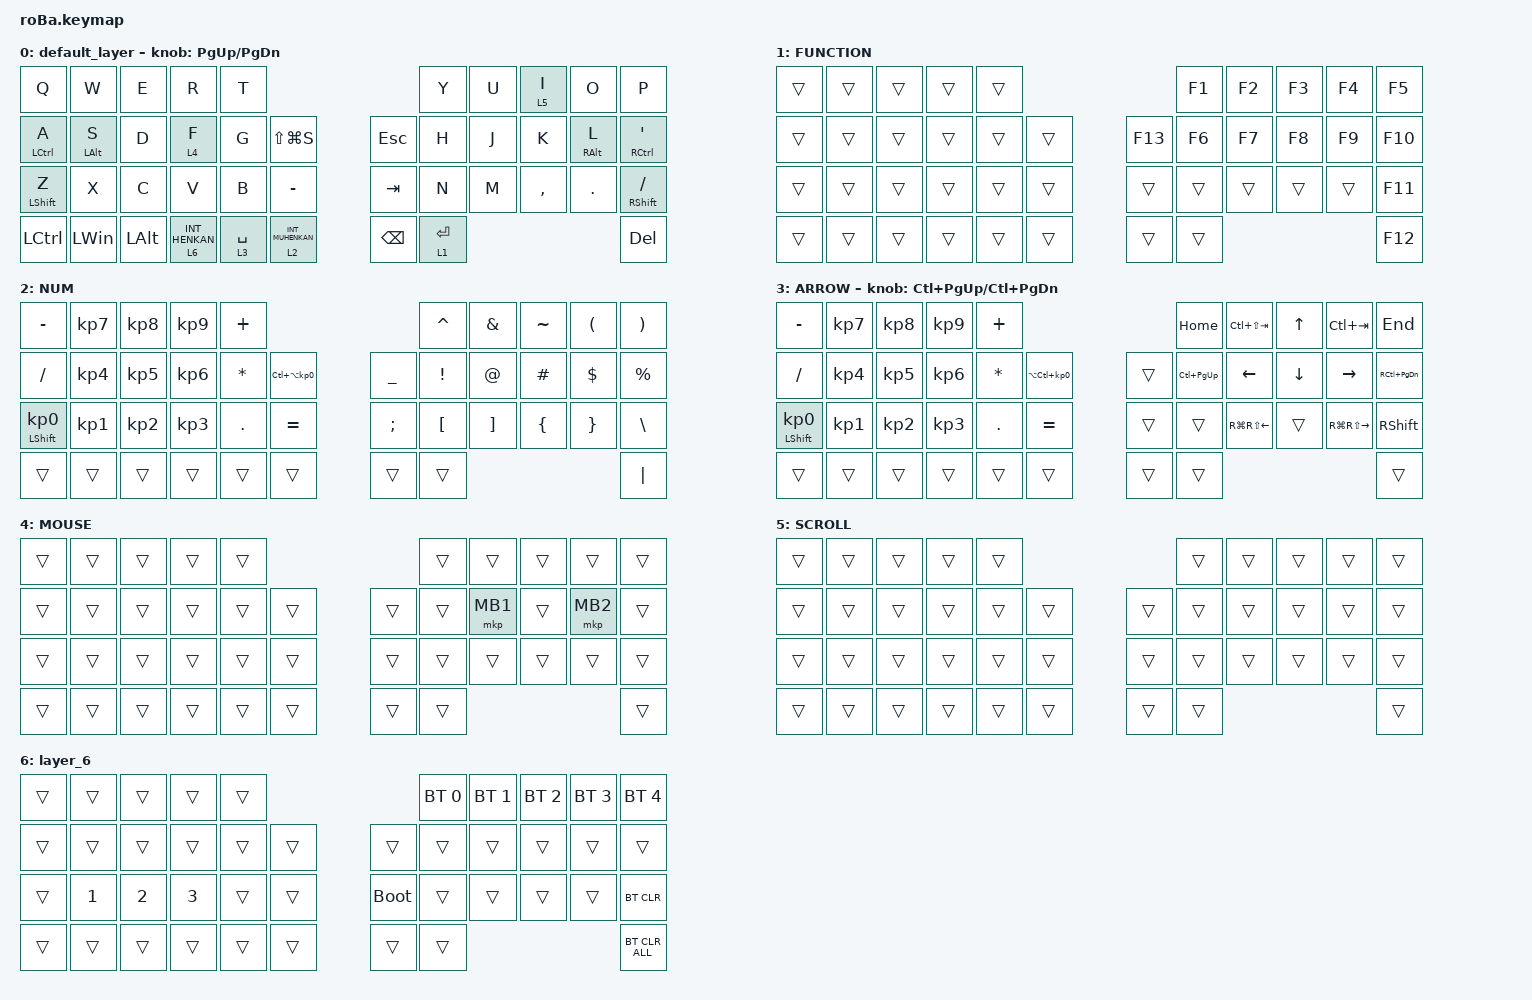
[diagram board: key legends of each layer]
#include <behaviors.dtsi>
#include <dt-bindings/zmk/bt.h>
#include <dt-bindings/zmk/keys.h>
#include <dt-bindings/zmk/pointing.h>

#define MOUSE 4
#define SCROLL 5
#define NUM 6

&mt {
    flavor = "balanced";
    quick-tap-ms = <0>;
};

/ {
    combos {
        compatible = "zmk,combos";

        tab {
            bindings = <&kp TAB>;
            key-positions = <11 12>;
        };

        shift_tab {
            bindings = <&kp LS(TAB)>;
            key-positions = <12 13>;
        };

        muhennkann {
            bindings = <&to_layer_0 INT_MUHENKAN>;
            key-positions = <11 10>;
        };

        double_quotation {
            bindings = <&kp DOUBLE_QUOTES>;
            key-positions = <20 21>;
        };

        eq {
            bindings = <&kp EQUAL>;
            key-positions = <24 25>;
        };
    };

    macros {
        to_layer_0: to_layer_0 {
            compatible = "zmk,behavior-macro-one-param";
            #binding-cells = <1>;
            bindings = <&to 0 &macro_param_1to1 &kp MACRO_PLACEHOLDER>;
            label = "TO_LAYER_0";
        };
    };

    behaviors {
        lt_to_layer_0: lt_to_layer_0 {
            compatible = "zmk,behavior-hold-tap";
            label = "LAYER_TAP_TO_0";
            bindings = <&mo>, <&to_layer_0>;

            #binding-cells = <2>;
            tapping-term-ms = <200>;
        };
    };

    keymap {
        compatible = "zmk,keymap";

        default_layer {
            bindings = <
&kp Q             &kp W           &kp E         &kp R                        &kp T                                                          &kp Y        &kp U  &lt 5 I    &kp O            &kp P
&mt LCTRL A       &mt LEFT_ALT S  &kp D         &lt 4 F                      &kp G        &kp LS(LG(S))                      &kp ESCAPE     &kp H        &kp J  &kp K      &mt RIGHT_ALT L  &mt RCTRL SQT
&mt LEFT_SHIFT Z  &kp X           &kp C         &kp V                        &kp B        &kp MINUS                          &kp TAB        &kp N        &kp M  &kp COMMA  &kp DOT          &mt RIGHT_SHIFT FSLH
&kp LCTRL         &kp LEFT_WIN    &kp LEFT_ALT  &lt_to_layer_0 6 INT_HENKAN  &lt 3 SPACE  &lt_to_layer_0 2 INT_MUHENKAN      &kp BACKSPACE  &lt 1 ENTER                                     &kp DEL
            >;

            sensor-bindings = <&inc_dec_kp PAGE_UP PAGE_DOWN>;
        };

        FUNCTION {
            bindings = <
&trans  &trans  &trans  &trans  &trans                       &kp F1  &kp F2  &kp F3  &kp F4  &kp F5
&trans  &trans  &trans  &trans  &trans  &trans      &kp F13  &kp F6  &kp F7  &kp F8  &kp F9  &kp F10
&trans  &trans  &trans  &trans  &trans  &trans      &trans   &trans  &trans  &trans  &trans  &kp F11
&trans  &trans  &trans  &trans  &trans  &trans      &trans   &trans                          &kp F12
            >;
        };

        NUM {
            bindings = <
&kp MINUS                   &kp KP_NUMBER_7  &kp KP_NUMBER_8  &kp KP_NUMBER_9  &kp PLUS                                                   &kp CARET         &kp AMPERSAND      &kp TILDE       &kp LEFT_PARENTHESIS  &kp RIGHT_PARENTHESIS
&kp SLASH                   &kp KP_NUMBER_4  &kp KP_NUMBER_5  &kp KP_NUMBER_6  &kp ASTERISK  &kp LC(LA(KP_NUMBER_0))      &kp UNDERSCORE  &kp EXCLAMATION   &kp AT_SIGN        &kp HASH        &kp DOLLAR            &kp PERCENT
&mt LEFT_SHIFT KP_NUMBER_0  &kp KP_NUMBER_1  &kp KP_NUMBER_2  &kp KP_NUMBER_3  &kp PERIOD    &kp EQUAL                    &kp SEMICOLON   &kp LEFT_BRACKET  &kp RIGHT_BRACKET  &kp LEFT_BRACE  &kp RIGHT_BRACE       &kp BACKSLASH
&trans                      &trans           &trans           &trans           &trans        &trans                       &trans          &trans                                                                     &kp PIPE
            >;
        };

        ARROW {
            bindings = <
&kp MINUS                   &kp KP_NUMBER_7  &kp KP_NUMBER_8  &kp KP_NUMBER_9  &kp PLUS                                           &kp HOME         &kp LC(LS(TAB))   &kp UP_ARROW  &kp LC(TAB)        &kp END
&kp SLASH                   &kp KP_NUMBER_4  &kp KP_NUMBER_5  &kp KP_NUMBER_6  &kp ASTERISK  &kp LA(LC(KP_NUMBER_0))      &trans  &kp LC(PAGE_UP)  &kp LEFT          &kp DOWN      &kp RIGHT          &kp RC(PAGE_DOWN)
&mt LEFT_SHIFT KP_NUMBER_0  &kp KP_NUMBER_1  &kp KP_NUMBER_2  &kp KP_NUMBER_3  &kp PERIOD    &kp EQUAL                    &trans  &trans           &kp RG(RS(LEFT))  &trans        &kp RG(RS(RIGHT))  &kp RIGHT_SHIFT
&trans                      &trans           &trans           &trans           &trans        &trans                       &trans  &trans                                                              &trans
            >;

            sensor-bindings = <&inc_dec_kp LC(PAGE_UP) LC(PAGE_DOWN)>;
        };

        MOUSE {
            bindings = <
&trans  &trans  &trans  &trans  &trans                      &trans  &trans    &trans  &trans    &trans
&trans  &trans  &trans  &trans  &trans  &trans      &trans  &trans  &mkp MB1  &trans  &mkp MB2  &trans
&trans  &trans  &trans  &trans  &trans  &trans      &trans  &trans  &trans    &trans  &trans    &trans
&trans  &trans  &trans  &trans  &trans  &trans      &trans  &trans                              &trans
            >;
        };

        SCROLL {
            bindings = <
&trans  &trans  &trans  &trans  &trans                      &trans  &trans  &trans  &trans  &trans
&trans  &trans  &trans  &trans  &trans  &trans      &trans  &trans  &trans  &trans  &trans  &trans
&trans  &trans  &trans  &trans  &trans  &trans      &trans  &trans  &trans  &trans  &trans  &trans
&trans  &trans  &trans  &trans  &trans  &trans      &trans  &trans                          &trans
            >;
        };

        layer_6 {
            bindings = <
&trans  &trans        &trans        &trans        &trans                           &bt BT_SEL 0  &bt BT_SEL 1  &bt BT_SEL 2  &bt BT_SEL 3  &bt BT_SEL 4
&trans  &trans        &trans        &trans        &trans  &trans      &trans       &trans        &trans        &trans        &trans        &trans
&trans  &kp NUMBER_1  &kp NUMBER_2  &kp NUMBER_3  &trans  &trans      &bootloader  &trans        &trans        &trans        &trans        &bt BT_CLR
&trans  &trans        &trans        &trans        &trans  &trans      &trans       &trans                                                  &bt BT_CLR_ALL
            >;
        };
    };
};
